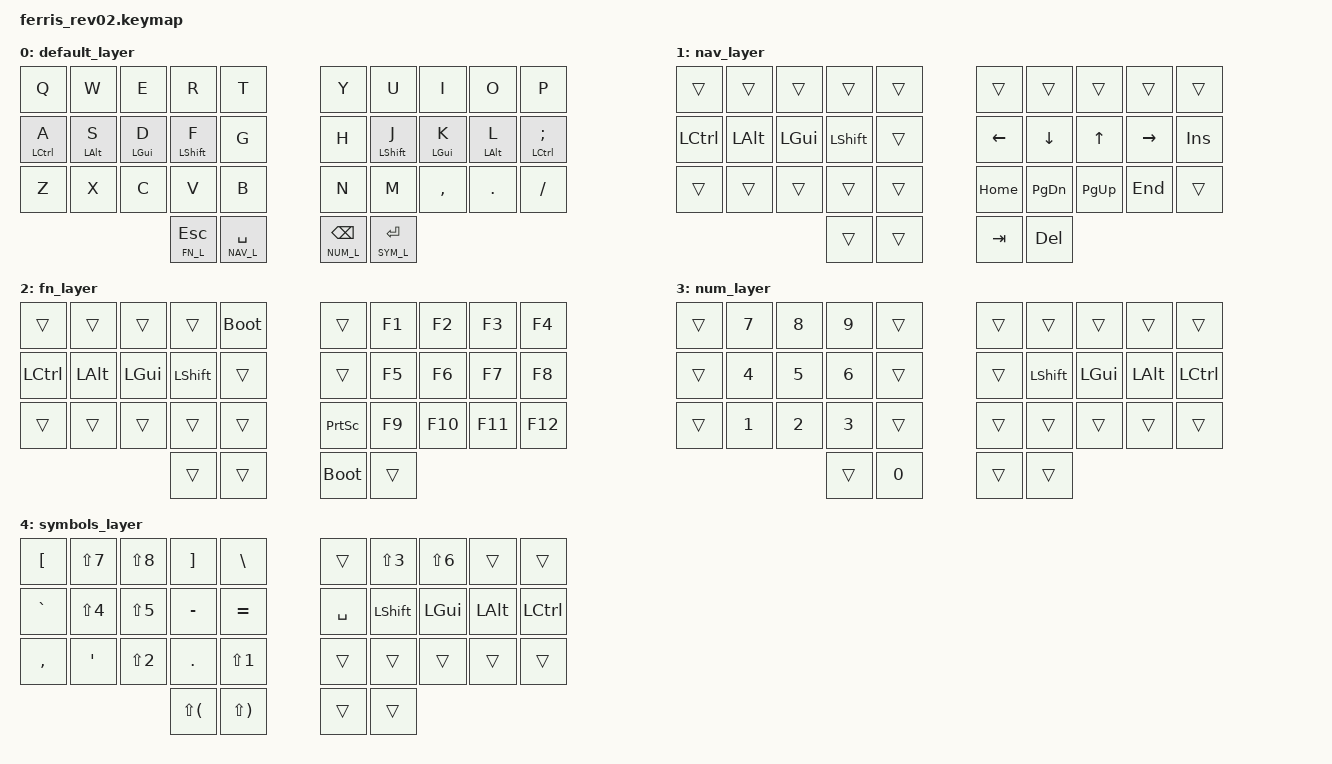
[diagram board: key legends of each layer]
/*
 * Copyright (c) 2020 The ZMK Contributors
 *
 * SPDX-License-Identifier: MIT
 */

#undef ZMK_BEHAVIORS_KEEP_ALL

#include <behaviors.dtsi>
#include <dt-bindings/zmk/keys.h>

#define NAV_L 1
#define FN_L 2
#define NUM_L 3
#define SYM_L 4

// Using layer taps on thumbs, having quick tap as well helps w/ repeating space/backspace

&lt {
    quick-tap-ms = <150>;
    flavor = "hold-preferred";
};

/ {
    behaviors {
        hm: homerow_mods {
            compatible = "zmk,behavior-hold-tap";
            #binding-cells = <2>;
            tapping-term-ms = <150>;
            flavor = "hold-preferred";
            bindings = <&kp>, <&kp>;
        };
    };

    combos {
        compatible = "zmk,combos";

        ye {
            bindings = <&kp SQT>;
            key-positions = <1 2>;
            timeout-ms = <40>;
            layers = <0>;
        };

        yo {
            bindings = <&kp GRAVE>;
            key-positions = <0 1>;
            layers = <0>;
            timeout-ms = <40>;
        };

        h {
            bindings = <&kp LEFT_BRACKET>;
            key-positions = <7 8>;
            timeout-ms = <40>;
            layers = <0>;
        };

        b {
            bindings = <&kp RIGHT_BRACKET>;
            key-positions = <8 9>;
            timeout-ms = <40>;
            layers = <0>;
        };
    };

    keymap {
        compatible = "zmk,keymap";

        default_layer {
            bindings = <
&kp Q        &kp W       &kp E       &kp R         &kp T              &kp Y           &kp U            &kp I       &kp O       &kp P
&hm LCTRL A  &hm LALT S  &hm LGUI D  &hm LSHFT F   &kp G              &kp H           &hm LSHFT J      &hm LGUI K  &hm LALT L  &hm LCTRL SEMI
&kp Z        &kp X       &kp C       &kp V         &kp B              &kp N           &kp M            &kp COMMA   &kp DOT     &kp FSLH
                                     &lt FN_L ESC  &lt NAV_L SPACE    &lt NUM_L BSPC  &lt SYM_L ENTER
            >;
        };

        nav_layer {
            bindings = <
&trans     &trans    &trans    &trans      &trans    &trans    &trans     &trans     &trans     &trans
&kp LCTRL  &kp LALT  &kp LGUI  &kp LSHIFT  &trans    &kp LEFT  &kp DOWN   &kp UP     &kp RIGHT  &kp INS
&trans     &trans    &trans    &trans      &trans    &kp HOME  &kp PG_DN  &kp PG_UP  &kp END    &trans
                               &trans      &trans    &kp TAB   &kp DEL
            >;
        };

        fn_layer {
            bindings = <
&trans     &trans    &trans    &trans      &bootloader    &trans           &kp F1  &kp F2   &kp F3   &kp F4
&kp LCTRL  &kp LALT  &kp LGUI  &kp LSHIFT  &trans         &trans           &kp F5  &kp F6   &kp F7   &kp F8
&trans     &trans    &trans    &trans      &trans         &kp PRINTSCREEN  &kp F9  &kp F10  &kp F11  &kp F12
                               &trans      &trans         &bootloader      &trans
            >;
        };

        num_layer {
            bindings = <
&trans  &kp N7  &kp N8  &kp N9  &trans    &trans  &trans      &trans    &trans    &trans
&trans  &kp N4  &kp N5  &kp N6  &trans    &trans  &kp LSHIFT  &kp LGUI  &kp LALT  &kp LCTRL
&trans  &kp N1  &kp N2  &kp N3  &trans    &trans  &trans      &trans    &trans    &trans
                        &trans  &kp N0    &trans  &trans
            >;
        };

        symbols_layer {
            bindings = <
&kp LEFT_BRACKET  &kp LS(N7)  &kp LS(N8)  &kp RIGHT_BRACKET         &kp BACKSLASH                &trans     &kp LS(N3)  &kp LS(N6)  &trans    &trans
&kp GRAVE         &kp LS(N4)  &kp LS(N5)  &kp MINUS                 &kp EQUAL                    &kp SPACE  &kp LSHIFT  &kp LGUI    &kp LALT  &kp LEFT_CONTROL
&kp COMMA         &kp SQT     &kp LS(N2)  &kp PERIOD                &kp LS(N1)                   &trans     &trans      &trans      &trans    &trans
                                          &kp LS(LEFT_PARENTHESIS)  &kp LS(RIGHT_PARENTHESIS)    &trans     &trans
            >;
        };
    };
};
